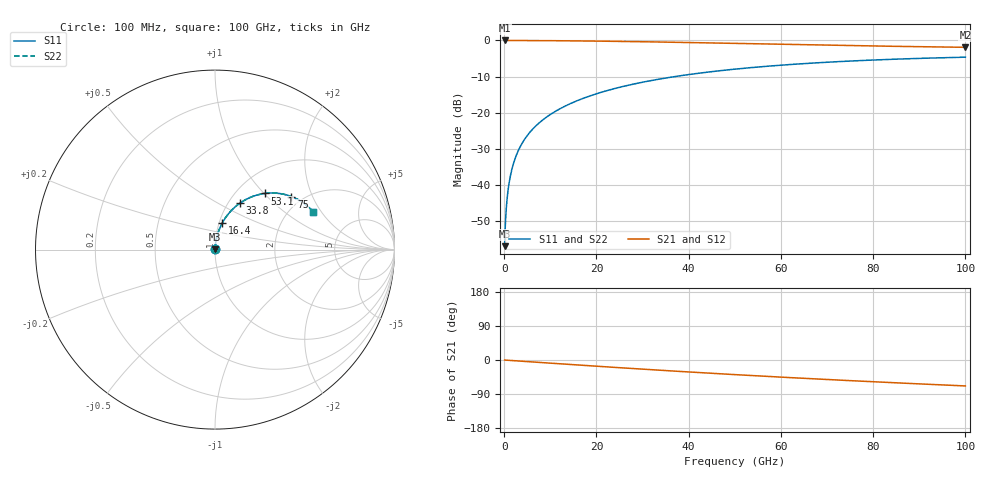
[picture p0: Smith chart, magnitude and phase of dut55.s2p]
! Touchstone file exported from HFSS 2026.1.0
!  File:  C:/ffzhzh/LocalFiles/Ansys_Project_Files/temp_train_RDL_55_1783498371_31944.aedt
!  Generated:  04:13:58 PM Jul  8, 2026
!  Design:  RDL
!  Project:  temp_train_RDL_55_1783498371_31944
! Variables:
!  h_bsmrdl = 2um
!  h_ox = 20um
!  h_rdl = 5um
!  h_sub = 80um
!  h_tmrdl = 4.78um
!  h_tsv = 80um
!  h_via = 3um
!  l_bsmrdl = 300um
!  l_sub = 591.33um
!  l_tmrdl = 191.33um
!  m_sub = 200um
!  pitch = 48.04um
!  r_tsv = 6um
!  s_tmrdl = 10um
!  w_bsmrdl = 18um
!  w_sub = 500um
!  w_tmrdl = 16.89um
!  x_tsv_center1 = 199.775um
!  x_tsv_center2 = 517.775um
!  x_tsv_center3 = 725.995um
!  x_tsv_center4 = 1043.995um
!  x_tsv_center5 = 1252.215um
!  x_tsv_center6 = 1570.215um
# GHz S MA R 50.000000
! Terminal data exported
! Port[1] = TM_RDL1_1_T1
! Port[2] = TM_RDL1_1_T2
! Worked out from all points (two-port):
!   1000 points, 100 MHz to 100 GHz, reference 50 ohm
!   highest |S21| = -0.01 dB at 100 MHz (marker M1); lowest = -1.9 dB at 100 GHz (marker M2)
!   |S21| within 3 dB of the highest: start of sweep to end of sweep
!   lowest |S11| = -57.0 dB at 100 MHz (marker M3), VSWR 1.00, Z = 50.1 + j0.103 ohm
!   |S11| at or under -10 dB: start of sweep to 37.06 GHz
!   |S22| runs from -57.0 to -4.6 dB; largest |S21 - S12| = 4.8e-15
!   S11 on the Smith chart (normalised r, x): 100 MHz: 1.00, +0.00; 16.4 GHz: 1.03, +0.31; 33.8 GHz: 1.13, +0.64; 53.1 GHz: 1.33, +1.01; 75 GHz: 1.75, +1.42; 100 GHz: 2.64, +1.68
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0.1  0.001418 46.6  0.999 -0.1  0.999 -0.1  0.001418 46.6
! Gamma 0 0 0 0
! Port Impedance 50 0 50 0
0.4  0.00414 74.6  0.9989 -0.3  0.9989 -0.3  0.00414 74.6
0.8  0.007959 81.0  0.9988 -0.7  0.9988 -0.7  0.007959 81.0
1.1  0.01085 82.7  0.9987 -0.9  0.9987 -0.9  0.01085 82.7
1.4  0.01375 83.6  0.9987 -1.2  0.9987 -1.2  0.01375 83.6
1.9  0.01858 84.3  0.9985 -1.6  0.9985 -1.6  0.01858 84.3
2.4  0.0234 84.4  0.9983 -2.0  0.9983 -2.0  0.0234 84.4
3.8  0.03677 84.0  0.9975 -3.2  0.9975 -3.2  0.03677 84.0
5.9  0.05651 82.6  0.996 -5.0  0.996 -5.0  0.05651 82.6
8.6  0.08144 80.7  0.9937 -7.2  0.9937 -7.2  0.08144 80.7
12.1  0.1132 78.1  0.99 -10.0  0.99 -10.0  0.1132 78.1
16.4  0.1514 74.9  0.9843 -13.5  0.9843 -13.5  0.1514 74.9
16.8  0.1549 74.6  0.9837 -13.8  0.9837 -13.8  0.1549 74.6
24.2  0.2176 69.0  0.971 -19.7  0.971 -19.7  0.2176 69.0
33.4  0.2897 62.2  0.9514 -26.7  0.9514 -26.7  0.2897 62.2
33.8  0.2926 61.9  0.9505 -27.0  0.9505 -27.0  0.2926 61.9
50.1  0.4007 50.4  0.9097 -38.6  0.9097 -38.6  0.4007 50.5
53.1  0.4179 48.4  0.9019 -40.7  0.9019 -40.7  0.4179 48.5
66.7  0.4851 39.8  0.8677 -49.4  0.8677 -49.4  0.4851 39.8
75  0.5181 34.8  0.8484 -54.5  0.8484 -54.5  0.5181 34.8
83.4  0.546 30.0  0.8309 -59.3  0.8309 -59.3  0.546 30.0
100  0.586 21.0  0.8033 -68.5  0.8033 -68.5  0.586 21.0
